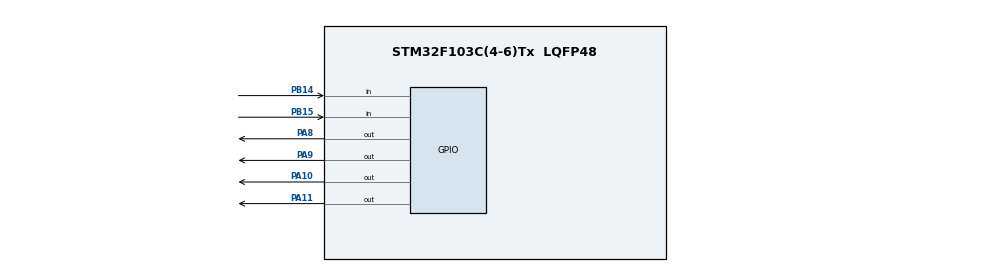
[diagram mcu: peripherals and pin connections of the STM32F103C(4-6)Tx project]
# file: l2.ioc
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Mcu.Family=STM32F1
Mcu.Name=STM32F103C(4-6)Tx
Mcu.Package=LQFP48
NVIC.PriorityGroup=NVIC_PRIORITYGROUP_4
PA10.Signal=GPIO_Output
PA11.Signal=GPIO_Output
PA8.Signal=GPIO_Output
PA9.Signal=GPIO_Output
PB14.Signal=GPIO_Input
PB15.Signal=GPIO_Input
ProjectManager.HeapSize=0x200
ProjectManager.StackSize=0x400
ProjectManager.TargetToolchain=STM32CubeIDE
RCC.APB1Freq_Value=8000000
RCC.APB2Freq_Value=8000000
board=custom

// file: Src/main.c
/* USER CODE BEGIN Header */
/**
  ******************************************************************************
  * @file           : main.c
  * @brief          : Main program body
  ******************************************************************************
  * @attention
  *
  * Copyright (c) 2022 STMicroelectronics.
  * All rights reserved.
  *
  * This software is licensed under terms that can be found in the LICENSE file
  * in the root directory of this software component.
  * If no LICENSE file comes with this software, it is provided AS-IS.
  *
  ******************************************************************************
  */
/* USER CODE END Header */
#include "main.h"
#include "gpio.h"

/* USER CODE BEGIN PV */
int	a = 0;
int b = 0;
/* USER CODE END PV */

void SystemClock_Config(void);

int main(void)
{

  /* MCU Configuration--------------------------------------------------------*/

  /* Reset of all peripherals, Initializes the Flash interface and the Systick. */
  HAL_Init();

  /* Configure the system clock */
  SystemClock_Config();

  /* Initialize all configured peripherals */
  MX_GPIO_Init();

  /* Infinite loop */
  /* USER CODE BEGIN WHILE */
  while (1)
  {

if (HAL_GPIO_ReadPin(GPIOB, GPIO_PIN_15) == GPIO_PIN_SET){
	 HAL_GPIO_WritePin(GPIOA, GPIO_PIN_8, GPIO_PIN_SET);
	  a = a+1;
} else {
HAL_GPIO_WritePin(GPIOA, GPIO_PIN_8, GPIO_PIN_RESET);
if (HAL_GPIO_ReadPin(GPIOB, GPIO_PIN_14) == GPIO_PIN_SET){
	 HAL_GPIO_WritePin(GPIOA, GPIO_PIN_9, GPIO_PIN_SET);
	 HAL_GPIO_WritePin(GPIOA, GPIO_PIN_10, GPIO_PIN_SET);
	 HAL_GPIO_WritePin(GPIOA, GPIO_PIN_11, GPIO_PIN_SET);
	  b = b+1;

} else {
	HAL_GPIO_WritePin(GPIOA, GPIO_PIN_9, GPIO_PIN_RESET);
	HAL_GPIO_WritePin(GPIOA, GPIO_PIN_10, GPIO_PIN_RESET);
	HAL_GPIO_WritePin(GPIOA, GPIO_PIN_11, GPIO_PIN_RESET);
}
}

}

}

    /* USER CODE END WHILE */

void SystemClock_Config(void)
{
  RCC_OscInitTypeDef RCC_OscInitStruct = {0};
  RCC_ClkInitTypeDef RCC_ClkInitStruct = {0};

  /** Initializes the RCC Oscillators according to the specified parameters
  * in the RCC_OscInitTypeDef structure.
  */
  RCC_OscInitStruct.OscillatorType = RCC_OSCILLATORTYPE_HSI;
  RCC_OscInitStruct.HSIState = RCC_HSI_ON;
  RCC_OscInitStruct.HSICalibrationValue = RCC_HSICALIBRATION_DEFAULT;
  RCC_OscInitStruct.PLL.PLLState = RCC_PLL_NONE;
  if (HAL_RCC_OscConfig(&RCC_OscInitStruct) != HAL_OK)
  {
    Error_Handler();
  }

  /** Initializes the CPU, AHB and APB buses clocks
  */
  RCC_ClkInitStruct.ClockType = RCC_CLOCKTYPE_HCLK|RCC_CLOCKTYPE_SYSCLK
                              |RCC_CLOCKTYPE_PCLK1|RCC_CLOCKTYPE_PCLK2;
  RCC_ClkInitStruct.SYSCLKSource = RCC_SYSCLKSOURCE_HSI;
  RCC_ClkInitStruct.AHBCLKDivider = RCC_SYSCLK_DIV1;
  RCC_ClkInitStruct.APB1CLKDivider = RCC_HCLK_DIV1;
  RCC_ClkInitStruct.APB2CLKDivider = RCC_HCLK_DIV1;

  if (HAL_RCC_ClockConfig(&RCC_ClkInitStruct, FLASH_LATENCY_0) != HAL_OK)
  {
    Error_Handler();
  }
}

void Error_Handler(void)
{
  __disable_irq();
  while (1)
  {
  }
}
